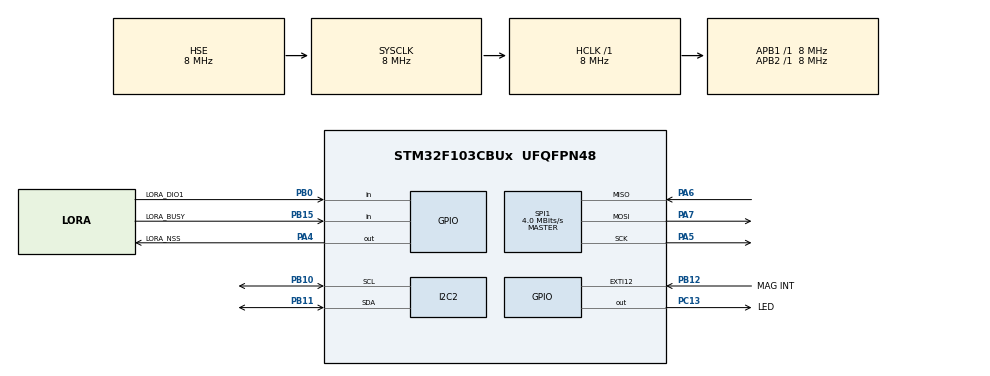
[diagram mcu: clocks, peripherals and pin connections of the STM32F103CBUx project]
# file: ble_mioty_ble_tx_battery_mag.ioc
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Mcu.Family=STM32F1
Mcu.Name=STM32F103CBUx
Mcu.Package=UFQFPN48
NVIC.EXTI15_10_IRQn=true\:1\:0\:true\:false\:true\:true\:true\:true
NVIC.PriorityGroup=NVIC_PRIORITYGROUP_4
PA13.Mode=Serial_Wire
PA13.Signal=SYS_JTMS-SWDIO
PA14.Mode=Serial_Wire
PA14.Signal=SYS_JTCK-SWCLK
PA4.GPIO_Label=LORA_NSS
PA4.Signal=GPIO_Output
PA5.Mode=Full_Duplex_Master
PA5.Signal=SPI1_SCK
PA6.Mode=Full_Duplex_Master
PA6.Signal=SPI1_MISO
PA7.Mode=Full_Duplex_Master
PA7.Signal=SPI1_MOSI
PB0.GPIO_Label=LORA_DIO1
PB0.Signal=GPIO_Input
PB10.Mode=I2C
PB10.Signal=I2C2_SCL
PB11.Mode=I2C
PB11.Signal=I2C2_SDA
PB12.GPIO_Label=MAG INT
PB12.Signal=GPXTI12
PB15.GPIO_Label=LORA_BUSY
PB15.Signal=GPIO_Input
PC13-TAMPER-RTC.GPIO_Label=LED
PC13-TAMPER-RTC.Signal=GPIO_Output
PC14-OSC32_IN.Mode=LSE-External-Oscillator
PC14-OSC32_IN.Signal=RCC_OSC32_IN
PC15-OSC32_OUT.Mode=LSE-External-Oscillator
PC15-OSC32_OUT.Signal=RCC_OSC32_OUT
PD0-OSC_IN.Mode=HSE-External-Oscillator
PD0-OSC_IN.Signal=RCC_OSC_IN
PD1-OSC_OUT.Mode=HSE-External-Oscillator
PD1-OSC_OUT.Signal=RCC_OSC_OUT
ProjectManager.HeapSize=0x200
ProjectManager.StackSize=0x400
ProjectManager.TargetToolchain=STM32CubeIDE
RCC.AHBFreq_Value=8000000
RCC.APB1Freq_Value=8000000
RCC.APB1TimFreq_Value=8000000
RCC.APB2Freq_Value=8000000
RCC.APB2TimFreq_Value=8000000
RCC.HCLKFreq_Value=8000000
RCC.PLLMUL=RCC_PLL_MUL9
RCC.PLLSourceVirtual=RCC_PLLSOURCE_HSE
RCC.SYSCLKFreq_VALUE=8000000
RCC.SYSCLKSource=RCC_SYSCLKSOURCE_HSE
RCC.USBFreq_Value=72000000
SPI1.BaudRatePrescaler=SPI_BAUDRATEPRESCALER_2
SPI1.CalculateBaudRate=4.0 MBits/s
SPI1.Direction=SPI_DIRECTION_2LINES
SPI1.Mode=SPI_MODE_MASTER
SPI1.VirtualType=VM_MASTER
board=custom

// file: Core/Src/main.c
/* USER CODE BEGIN Header */
/**
 ******************************************************************************
 * @file           : main.c
 * @brief          : Main program body
 ******************************************************************************
 */
/* USER CODE END Header */
#include "main.h"

/* USER CODE BEGIN PD */
#define IIS2MDC_I2C_ADDR        (0x1E << 1)
#define IIS2MDC_WHO_AM_I_REG    0x4F
#define IIS2MDC_WHO_AM_I_VALUE  0x40
#define IIS2MDC_CFG_REG_A       0x60
#define IIS2MDC_CFG_REG_C       0x62
#define IIS2MDC_STATUS_REG      0x67
#define IIS2MDC_OUTX_L_REG      0x68
#define IIS2MDC_STATUS_ZYXDA    0x08
#define IIS2MDC_AUTO_INCREMENT  0x80
#define IIS2MDC_CFG_SINGLE_LP   0x91
#define IIS2MDC_CFG_IDLE_LP     0x93
#define IIS2MDC_CFG_BDU         0x10
/* USER CODE END PD */

I2C_HandleTypeDef hi2c2;

SPI_HandleTypeDef hspi1;

/* USER CODE BEGIN PV */
volatile uint8_t alarm_fired = 0;
int16_t mag_ref_x = 0;
int16_t mag_ref_y = 0;
uint8_t mag_ref_valid = 0;
/* USER CODE END PV */

void SystemClock_Config(void);
static void MX_GPIO_Init(void);
static void MX_SPI1_Init(void);
static void MX_I2C2_Init(void);
/* USER CODE BEGIN PFP */
void LED_Blink(uint8_t count);
void SX1280_WaitBusy(void);
uint8_t SX1280_GetStatus(void);
void SX1280_SendCommand(uint8_t *cmd, uint8_t len);
void SX1280_WriteBuffer(uint8_t offset, uint8_t *data, uint8_t len);
void SX1280_WriteRegister(uint16_t addr, uint8_t *data, uint8_t len);
uint8_t SX1280_ReadRegister(uint16_t addr);
void SX1280_SetFrequency(uint8_t b0, uint8_t b1, uint8_t b2);
uint8_t SX1280_SendOnChannel(uint8_t f0, uint8_t f1, uint8_t f2, uint8_t ch,
                             uint8_t white_seed);
void SX1280_InitBLE(void);
void SX1280_VerifyInit(void);
void SX1280_SendBLEBeacon(void);
uint8_t IIS2MDC_ReadRegister(uint8_t reg, uint8_t *value);
uint8_t IIS2MDC_WriteRegister(uint8_t reg, uint8_t value);
uint8_t IIS2MDC_ReadXYZ(int16_t *x, int16_t *y, int16_t *z);
uint8_t IIS2MDC_CalibrateNorthReference(void);
uint8_t IIS2MDC_GetOrientationBlinkCount(void);
uint8_t IIS2MDC_CheckWhoAmI(void);
void RTC_Init_LowPower(void);
void RTC_SetAlarm_1s(void);
void STM32_EnterStopMode(void);
void SX1280_Sleep(void);
void SX1280_Wakeup(void);
/* USER CODE END PFP */

/* USER CODE BEGIN 0 */

// -----------------------------------------------------------------------
// LED helper: blinks 'count' times (150ms on/off), then 600ms pause
// -----------------------------------------------------------------------
void LED_Blink(uint8_t count) {
  for (uint8_t i = 0; i < count; i++) {
    HAL_GPIO_WritePin(LED_GPIO_Port, LED_Pin, GPIO_PIN_SET);
    HAL_Delay(150);
    HAL_GPIO_WritePin(LED_GPIO_Port, LED_Pin, GPIO_PIN_RESET);
    HAL_Delay(150);
  }
  HAL_Delay(600);
}

// -----------------------------------------------------------------------
// IIS2MDC helper: read a single register over I2C2
// -----------------------------------------------------------------------
uint8_t IIS2MDC_ReadRegister(uint8_t reg, uint8_t *value) {
  if (HAL_I2C_Mem_Read(&hi2c2, IIS2MDC_I2C_ADDR, reg,
                       I2C_MEMADD_SIZE_8BIT, value, 1, 100) == HAL_OK) {
    return 1;
  }
  return 0;
}

uint8_t IIS2MDC_WriteRegister(uint8_t reg, uint8_t value) {
  if (HAL_I2C_Mem_Write(&hi2c2, IIS2MDC_I2C_ADDR, reg,
                        I2C_MEMADD_SIZE_8BIT, &value, 1, 100) == HAL_OK) {
    return 1;
  }
  return 0;
}

// -----------------------------------------------------------------------
// Take one low-power single-shot magnetic sample, then return to idle.
// Orientation is compared against the boot-time reference direction.
// Returns blink count: 1=same direction, 2=opposite, 3=sideways/unclear,
// 8=read/config error.
// -----------------------------------------------------------------------
uint8_t IIS2MDC_ReadXYZ(int16_t *x, int16_t *y, int16_t *z) {
  uint8_t status = 0;
  uint8_t raw[6] = {0};

  if (!IIS2MDC_WriteRegister(IIS2MDC_CFG_REG_C, IIS2MDC_CFG_BDU)) {
    return 0;
  }
  if (!IIS2MDC_WriteRegister(IIS2MDC_CFG_REG_A, IIS2MDC_CFG_SINGLE_LP)) {
    return 0;
  }

  for (uint8_t i = 0; i < 20; i++) {
    HAL_Delay(2);
    if (!IIS2MDC_ReadRegister(IIS2MDC_STATUS_REG, &status)) {
      return 0;
    }
    if ((status & IIS2MDC_STATUS_ZYXDA) != 0) {
      break;
    }
  }
  if ((status & IIS2MDC_STATUS_ZYXDA) == 0) {
    return 0;
  }

  if (HAL_I2C_Mem_Read(&hi2c2, IIS2MDC_I2C_ADDR,
                       IIS2MDC_OUTX_L_REG | IIS2MDC_AUTO_INCREMENT,
                       I2C_MEMADD_SIZE_8BIT, raw, 6, 100) != HAL_OK) {
    return 0;
  }

  *x = (int16_t)((uint16_t)raw[1] << 8 | raw[0]);
  *y = (int16_t)((uint16_t)raw[3] << 8 | raw[2]);
  *z = (int16_t)((uint16_t)raw[5] << 8 | raw[4]);
  IIS2MDC_WriteRegister(IIS2MDC_CFG_REG_A, IIS2MDC_CFG_IDLE_LP);
  return 1;
}

uint8_t IIS2MDC_CalibrateNorthReference(void) {
  int16_t x = 0;
  int16_t y = 0;
  int16_t z = 0;
  (void)z;

  if (!IIS2MDC_ReadXYZ(&x, &y, &z)) {
    mag_ref_valid = 0;
    return 0;
  }

  mag_ref_x = x;
  mag_ref_y = y;
  mag_ref_valid = 1;
  return 1;
}

uint8_t IIS2MDC_GetOrientationBlinkCount(void) {
  int16_t x = 0;
  int16_t y = 0;
  int16_t z = 0;
  (void)z;

  if (!IIS2MDC_ReadXYZ(&x, &y, &z)) {
    return 8;
  }

  if (!mag_ref_valid) {
    return 8;
  }

  int64_t dot = (int64_t)x * mag_ref_x + (int64_t)y * mag_ref_y;
  int64_t ref_norm = (int64_t)mag_ref_x * mag_ref_x + (int64_t)mag_ref_y * mag_ref_y;
  int64_t cur_norm = (int64_t)x * x + (int64_t)y * y;
  int64_t dot_abs = (dot < 0) ? -dot : dot;

  if (ref_norm == 0 || cur_norm == 0) {
    return 8;
  }

  // Same/opposite if within roughly 45 degrees of the reference/opposite vector.
  if ((dot_abs * dot_abs * 2) >= (ref_norm * cur_norm)) {
    return (dot >= 0) ? 1 : 2;
  }
  return 3;
}

// -----------------------------------------------------------------------
// Verify IIS2MDC magnetometer presence.
// WHO_AM_I register 0x4F should read 0x40.
// -----------------------------------------------------------------------
uint8_t IIS2MDC_CheckWhoAmI(void) {
  uint8_t whoami = 0;
  if (!IIS2MDC_ReadRegister(IIS2MDC_WHO_AM_I_REG, &whoami)) {
    return 0;
  }
  return (whoami == IIS2MDC_WHO_AM_I_VALUE) ? 1 : 0;
}

// -----------------------------------------------------------------------
// Wait for BUSY pin to go low (chip ready for next command)
// Hangs with 50ms rapid blink if timeout exceeds 1 second
// -----------------------------------------------------------------------
void SX1280_WaitBusy(void) {
  uint32_t timeout = HAL_GetTick();
  while (HAL_GPIO_ReadPin(LORA_BUSY_GPIO_Port, LORA_BUSY_Pin) == GPIO_PIN_SET) {
    if ((HAL_GetTick() - timeout) > 1000) {
      while (1) {
        HAL_GPIO_TogglePin(LED_GPIO_Port, LED_Pin);
        HAL_Delay(50);
      }
    }
  }
}

// -----------------------------------------------------------------------
// GetStatus: returns the raw status byte
// Bits 7:5 = circuit mode (2=STDBY_RC, 3=STDBY_XOSC, 4=FS, 5=Rx, 6=Tx)
// Bits 4:2 = command status (1=OK, 3=timeout, 4=error, 5=fail, 6=TxDone)
// -----------------------------------------------------------------------
uint8_t SX1280_GetStatus(void) {
  uint8_t tx[2] = {0xC0, 0x00};
  uint8_t rx[2] = {0x00, 0x00};
  SX1280_WaitBusy();
  HAL_GPIO_WritePin(LORA_NSS_GPIO_Port, LORA_NSS_Pin, GPIO_PIN_RESET);
  HAL_SPI_TransmitReceive(&hspi1, tx, rx, 2, HAL_MAX_DELAY);
  HAL_GPIO_WritePin(LORA_NSS_GPIO_Port, LORA_NSS_Pin, GPIO_PIN_SET);
  return rx[1];
}

// -----------------------------------------------------------------------
// Send a command over SPI (waits for BUSY first)
// -----------------------------------------------------------------------
void SX1280_SendCommand(uint8_t *cmd, uint8_t len) {
  SX1280_WaitBusy();
  HAL_GPIO_WritePin(LORA_NSS_GPIO_Port, LORA_NSS_Pin, GPIO_PIN_RESET);
  HAL_SPI_Transmit(&hspi1, cmd, len, HAL_MAX_DELAY);
  HAL_GPIO_WritePin(LORA_NSS_GPIO_Port, LORA_NSS_Pin, GPIO_PIN_SET);
}

// -----------------------------------------------------------------------
// Write payload data to TX buffer at given offset
// -----------------------------------------------------------------------
void SX1280_WriteBuffer(uint8_t offset, uint8_t *data, uint8_t len) {
  SX1280_WaitBusy();
  HAL_GPIO_WritePin(LORA_NSS_GPIO_Port, LORA_NSS_Pin, GPIO_PIN_RESET);
  uint8_t header[2] = {0x1A, offset};
  HAL_SPI_Transmit(&hspi1, header, 2, HAL_MAX_DELAY);
  HAL_SPI_Transmit(&hspi1, data, len, HAL_MAX_DELAY);
  HAL_GPIO_WritePin(LORA_NSS_GPIO_Port, LORA_NSS_Pin, GPIO_PIN_SET);
}

// -----------------------------------------------------------------------
// Write registers via opcode 0x18
// -----------------------------------------------------------------------
void SX1280_WriteRegister(uint16_t addr, uint8_t *data, uint8_t len) {
  SX1280_WaitBusy();
  HAL_GPIO_WritePin(LORA_NSS_GPIO_Port, LORA_NSS_Pin, GPIO_PIN_RESET);
  uint8_t header[3] = {0x18, (addr >> 8) & 0xFF, addr & 0xFF};
  HAL_SPI_Transmit(&hspi1, header, 3, HAL_MAX_DELAY);
  HAL_SPI_Transmit(&hspi1, data, len, HAL_MAX_DELAY);
  HAL_GPIO_WritePin(LORA_NSS_GPIO_Port, LORA_NSS_Pin, GPIO_PIN_SET);
}

// -----------------------------------------------------------------------
// Read a single register via opcode 0x19
// Format: [0x19, addrHigh, addrLow, NOP] then receive 1 byte
// -----------------------------------------------------------------------
uint8_t SX1280_ReadRegister(uint16_t addr) {
  uint8_t val = 0;
  SX1280_WaitBusy();
  HAL_GPIO_WritePin(LORA_NSS_GPIO_Port, LORA_NSS_Pin, GPIO_PIN_RESET);
  uint8_t header[4] = {0x19, (addr >> 8) & 0xFF, addr & 0xFF, 0x00};
  HAL_SPI_Transmit(&hspi1, header, 4, HAL_MAX_DELAY);
  HAL_SPI_Receive(&hspi1, &val, 1, HAL_MAX_DELAY);
  HAL_GPIO_WritePin(LORA_NSS_GPIO_Port, LORA_NSS_Pin, GPIO_PIN_SET);
  return val;
}

// -----------------------------------------------------------------------
// Set RF frequency
// rfFreq = (targetMHz * 1e6 / 52e6) * 2^18, split into 3 bytes MSB first
// CH37=2402MHz: 0xB8,0xC4,0xEC
// CH38=2426MHz: 0xBA,0x9D,0x89
// CH39=2480MHz: 0xBE,0xC4,0x55
// -----------------------------------------------------------------------
void SX1280_SetFrequency(uint8_t b0, uint8_t b1, uint8_t b2) {
  uint8_t cmd[4] = {0x86, b0, b1, b2};
  SX1280_SendCommand(cmd, 4);
}

// -----------------------------------------------------------------------
// Initialize SX1280 for BLE advertising mode
// Must be called once after power-on/reset, before any TX
// -----------------------------------------------------------------------
void SX1280_InitBLE(void) {
  // 1. Go to Standby RC mode
  uint8_t cmd_standby[2] = {0x80, 0x00};
  SX1280_SendCommand(cmd_standby, 2);
  HAL_Delay(10);

  // 2. Set packet type = BLE (0x04) — per reference: PACKET_TYPE_BLE = 0x04
  uint8_t cmd_pkt_type[2] = {0x8A, 0x04};
  SX1280_SendCommand(cmd_pkt_type, 2);

  // 3. Set TX base address = 0x80, RX base = 0x00 (matches reference
  // SetupAdvPdu offset)
  uint8_t cmd_buf[3] = {0x8F, 0x80, 0x00};
  SX1280_SendCommand(cmd_buf, 3);

  // 4. Set modulation params: 1 Mbps, MOD_IND=0.5, BT=0.5
  uint8_t cmd_mod[4] = {0x8B, 0x45, 0x01, 0x20};
  SX1280_SendCommand(cmd_mod, 4);

  // 5. Set TX output power = 0 dBm (0x12) or +13 dBm (0x1F)**board 2 where j1 is attached change it(ref:25_06.md)** for low current draw, ramp time =
  // 20us (0x20)
  uint8_t cmd_tx_params[3] = {0x8E, 0x12, 0x20};
  SX1280_SendCommand(cmd_tx_params, 3);

  // 6. Write BLE advertising Access Address = 0x8E89BED6
  //    Registers 0x09CF (MSB) .. 0x09D2 (LSB)
  uint8_t access_addr[4] = {0x8E, 0x89, 0xBE, 0xD6};
  SX1280_WriteRegister(0x09CF, access_addr, 4);

  // 7. Write CRC init seed = 0x555555 (BLE advertising spec requirement)
  //    Registers 0x09C7 (MSB) .. 0x09C9 (LSB)
  uint8_t crc_seed[3] = {0x55, 0x55, 0x55};
  SX1280_WriteRegister(0x09C7, crc_seed, 3);

  // 8. Map TxDone IRQ to DIO1 pin
  //    [opcode, IRQmask_H, IRQmask_L, DIO1_H, DIO1_L, DIO2_H, DIO2_L, DIO3_H,
  //    DIO3_L]
  uint8_t cmd_irq[9] = {0x8D, 0x00, 0x01, 0x00, 0x01, 0x00, 0x00, 0x00, 0x00};
  SX1280_SendCommand(cmd_irq, 9);
}

// -----------------------------------------------------------------------
// Read back key registers after InitBLE and blink results as LED groups
//
// All counts shifted by +1 so 0 = 1 blink (never 0 blinks)
//
// EXPECTED SEQUENCE (good init):
//   Group 1:  9 blinks  (Access Address reg 0x09CF = 0x8E, nibble=8, +1=9)
//   Group 2:  6 blinks  (CRC seed reg 0x09C7 = 0x55, nibble=5, +1=6)
//   Group 3:  3 blinks  (Circuit mode = STDBY_RC = 2, +1=3)
//   Group 4:  1 blink   (Command status = idle = 0, +1=1)
//
// 9,6,3,1 = firmware confirmed good → suspect RF/hardware path
// Any other pattern = SPI write issue
// -----------------------------------------------------------------------
void SX1280_VerifyInit(void) {
  HAL_Delay(1000);

  // Group 1: Access Address reg 0x09CF — expect 9 blinks
  uint8_t aa = SX1280_ReadRegister(0x09CF);
  LED_Blink((aa >> 4) + 1);
  HAL_Delay(1000);

  // Group 2: CRC seed reg 0x09C7 — expect 6 blinks
  uint8_t crc = SX1280_ReadRegister(0x09C7);
  LED_Blink((crc >> 4) + 1);
  HAL_Delay(1000);

  // Group 3: Circuit mode (bits 7:5) — expect 3 blinks (STDBY_RC=2, +1=3)
  HAL_Delay(50);
  uint8_t st = SX1280_GetStatus();
  uint8_t circuit_mode = (st >> 5) & 0x07;
  uint8_t cmd_status = (st >> 2) & 0x07;
  LED_Blink(circuit_mode + 1);
  HAL_Delay(1000);

  // Group 4: Command status (bits 4:2) — expect 1 blink (idle=0, +1=1)
  LED_Blink(cmd_status + 1);
  HAL_Delay(1000);
}

// -----------------------------------------------------------------------
// Transmit one BLE ADV_NONCONN_IND packet on the specified channel
//
// Returns: 1 = TxDone confirmed via DIO1 pin
//          0 = TxDone not seen (possible TX failure)
//
// DIO1 is mapped to TxDone IRQ in InitBLE step 8.
// DIO1 goes HIGH when the chip finishes transmitting.
// IRQ is cleared after each TX so DIO1 resets for the next channel.
// -----------------------------------------------------------------------
uint8_t SX1280_SendOnChannel(uint8_t freq0, uint8_t freq1, uint8_t freq2,
                             uint8_t ch_index, uint8_t white_seed) {
  // Set RF frequency for this channel
  SX1280_SetFrequency(freq0, freq1, freq2);
  // Explicitly set modulation parameters (1 Mbps GFSK, index 0.5, BT 0.5)
  uint8_t cmd_mod[4] = {0x8B, 0x45, 0x01, 0x20};
  SX1280_SendCommand(cmd_mod, 4);

  // Build BLE ADV_NONCONN_IND PDU — iBeacon format matching reference board
  // Sniffed from reference board: ADV_NONCONN_IND, ManufacturerSpecificData
  // (0xFF) Apple iBeacon: UUID=01020304-0506-0708-090A-0B0C0D0E0F10, Major=1,
  // Minor=2
  uint8_t adv_data[] = {
      // Flags AD structure (3 bytes)
      // Length=2, Type=0x01, Value=0x06 (LE General Discoverable + BR/EDR Not
      // Supported)
      0x02, 0x01, 0x06,

      // iBeacon Manufacturer Specific Data AD structure (27 bytes)
      // Length=26, Type=0xFF (ManufacturerSpecificData)
      0x1A, 0xFF,
      // Apple Inc. company ID — little-endian (0x004C)
      0x4C, 0x00,
      // iBeacon subtype (0x02) + payload length (0x15 = 21 bytes)
      0x02, 0x15,
      // Proximity UUID: 01020304-0506-0708-090A-0B0C0D0E0F10
      0x01, 0x02, 0x03, 0x04, 0x05, 0x06, 0x07, 0x08, 0x09, 0x0A, 0x0B, 0x0C,
      0x0D, 0x0E, 0x0F, 0x10,
      // Major = 1 (location zone)
      0x00, 0x01,
      // Minor = 2 (sub-zone)
      0x00, 0x02,
      // TX Power at 1 m = -59 dBm (0xC5 signed) — used for ranging
      0xC5};
  uint8_t mac[6] = {0xFF, 0xEE, 0xDD, 0xCC,
                    0xBB, 0xAC}; // BLE address LSB-first, on-air (MSB-first):
                                 // FF:EE:DD:CC:BB:AC
  // Payload length = MAC (6) + AD data (30) = 36 bytes
  uint8_t pdu_len = 6 + 30;
  uint8_t payload[38]; // 2-byte header + 36-byte PDU

  payload[0] = 0x42;    // PDU type: ADV_NONCONN_IND (bits[1:0]=10) + TxAdd=1
                        // (bit6) for random address
  payload[1] = pdu_len; // length of everything after the 2-byte header
  for (int i = 0; i < 6; i++)
    payload[2 + i] = mac[i];
  for (int i = 0; i < 30; i++)
    payload[8 + i] = adv_data[i];

  // SetPacketParams for BLE — exactly matching reference prepareForBeacon():
  // SetPacketParams(0x20, 0x10, 0x04, 0x00, 0x00, 0x00, 0x00)
  // [0x8C, ConnectionState=0x20, CrcLength=0x10, BleTestPayload=0x04,
  // Whitening=0x00, 0x00, 0x00, 0x00] NOTE: whitening is enabled via
  // SetWhiteningSeed (register 0x09C5), NOT via this byte
  uint8_t cmd_pkt[8] = {0x8C, 0x20, 0x10, 0x04, 0x00, 0x00, 0x00, 0x00};
  SX1280_SendCommand(cmd_pkt, 8);

  // Set whitening seed — reference uses SetWhiteningSeed(reg 0x09C5)
  // Seeds from reference channel_table: CH37=0x53, CH38=0x33, CH39=0x73
  SX1280_WriteRegister(0x09C5, &white_seed, 1);

  // Write full 38-byte PDU to TX buffer at offset 0x80 (matches reference
  // SetupAdvPdu/SetBufferBaseAddresses) (2-byte header + 6-byte MAC + 30-byte
  // iBeacon AD data = 38 bytes total)
  SX1280_WriteBuffer(0x80, payload, 38);

  // SetTx: periodBase=0x00 (15.625us steps), count=0x0064 (~1.56ms timeout)
  uint8_t cmd_tx[4] = {0x83, 0x00, 0x00, 0x64};
  SX1280_SendCommand(cmd_tx, 4);

  // Wait for chip to finish (BUSY goes low after TX completes)
  SX1280_WaitBusy();
  HAL_Delay(2);

  // Read TxDone confirmation from DIO1 pin
  uint8_t txdone = 0;
  if (HAL_GPIO_ReadPin(LORA_DIO1_GPIO_Port, LORA_DIO1_Pin) == GPIO_PIN_SET) {
    txdone = 1;
    // Clear all IRQ flags so DIO1 goes low again for next channel
    uint8_t clr[3] = {0x97, 0xFF, 0xFF};
    SX1280_SendCommand(clr, 3);
  }

  HAL_Delay(3);
  return txdone;
}

// -----------------------------------------------------------------------
// Send beacon on all 3 BLE advertising channels
// Passes TxDone result for each channel back to caller
// -----------------------------------------------------------------------
void SX1280_SendBLEBeacon(void) {
  // Whitening seeds match reference project channel_table exactly:
  // CH37=0x53, CH38=0x33, CH39=0x73
  SX1280_SendOnChannel(0xB8, 0xC4, 0xEC, 37, 0x53); // 2402 MHz, seed=0x53
  HAL_Delay(10);
  SX1280_SendOnChannel(0xBA, 0x9D, 0x89, 38, 0x33); // 2426 MHz, seed=0x33
  HAL_Delay(10);
  SX1280_SendOnChannel(
      0xBE, 0xC4, 0x55, 39,
      0x73); // 2480 MHz, seed=0x73 (Corrected frequency LSB to 0x55)
  HAL_Delay(10);
}

// -----------------------------------------------------------------------
// Initialize the RTC to use the external LSE clock source (32.768 kHz)
// -----------------------------------------------------------------------
void RTC_Init_LowPower(void) {
  // 1. Enable Power and Backup Interface Clocks
  __HAL_RCC_PWR_CLK_ENABLE();
  __HAL_RCC_BKP_CLK_ENABLE();

  // 2. Enable access to Backup Domain
  HAL_PWR_EnableBkUpAccess();

  // Force backup domain reset to clear any locked RTC clock source
  // configurations
  __HAL_RCC_BACKUPRESET_FORCE();
  __HAL_RCC_BACKUPRESET_RELEASE();

  // 3. Enable LSE oscillator
  RCC_OscInitTypeDef osc_init = {0};
  osc_init.OscillatorType = RCC_OSCILLATORTYPE_LSE;
  osc_init.LSEState = RCC_LSE_ON;
  if (HAL_RCC_OscConfig(&osc_init) != HAL_OK) {
    Error_Handler();
  }

  // 4. Select LSE as RTC Clock Source and enable it
  RCC_PeriphCLKInitTypeDef clk_init = {0};
  clk_init.PeriphClockSelection = RCC_PERIPHCLK_RTC;
  clk_init.RTCClockSelection = RCC_RTCCLKSOURCE_LSE;
  if (HAL_RCCEx_PeriphCLKConfig(&clk_init) != HAL_OK) {
    Error_Handler();
  }

  // 5. Enable RTC Clock
  __HAL_RCC_RTC_ENABLE();

  // 6. Wait for RTC registers synchronization
  WRITE_REG(RTC->CRL, (uint32_t)~RTC_CRL_RSF);
  while ((RTC->CRL & RTC_CRL_RSF) == 0) {
  }
  while ((RTC->CRL & RTC_CRL_RTOFF) == 0) {
  }

  // 7. Configure RTC Prescaler (for 32.768kHz LSE: 32768 - 1 = 32767 to get 1 Hz)
  SET_BIT(RTC->CRL, RTC_CRL_CNF);
  WRITE_REG(RTC->PRLH, (32767 >> 16) & 0xFFFF);
  WRITE_REG(RTC->PRLL, 32767 & 0xFFFF);
  CLEAR_BIT(RTC->CRL, RTC_CRL_CNF);
  while ((RTC->CRL & RTC_CRL_RTOFF) == 0) {
  }

  // 8. Configure EXTI Line 17 (connected to RTC Alarm) for Interrupt Rising
  // Edge
  SET_BIT(EXTI->IMR, EXTI_IMR_MR17);
  SET_BIT(EXTI->RTSR, EXTI_RTSR_TR17);

  // 9. Configure NVIC for RTC Alarm
  HAL_NVIC_SetPriority(RTC_Alarm_IRQn, 0, 0);
  HAL_NVIC_EnableIRQ(RTC_Alarm_IRQn);
}

// -----------------------------------------------------------------------
// Set the RTC Alarm to fire 1 second from current time
// -----------------------------------------------------------------------
void RTC_SetAlarm_1s(void) {
  // Clear Register Synchronized Flag (RSF) and wait for synchronization (critical after wakeup)
  WRITE_REG(RTC->CRL, (uint32_t)~RTC_CRL_RSF);
  while ((RTC->CRL & RTC_CRL_RSF) == 0) {
  }

  while ((RTC->CRL & RTC_CRL_RTOFF) == 0) {
  }

  // Read current 32-bit counter value
  uint32_t cnt = ((uint32_t)RTC->CNTH << 16) | RTC->CNTL;
  uint32_t alarm_val = cnt + 1; // 1 second alarm

  SET_BIT(RTC->CRL, RTC_CRL_CNF);
  WRITE_REG(RTC->ALRH, (alarm_val >> 16) & 0xFFFF);
  WRITE_REG(RTC->ALRL, alarm_val & 0xFFFF);
  SET_BIT(RTC->CRH, RTC_CRH_ALRIE); // Enable Alarm interrupt
  CLEAR_BIT(RTC->CRL, RTC_CRL_CNF);
  while ((RTC->CRL & RTC_CRL_RTOFF) == 0) {
  }
}

// -----------------------------------------------------------------------
// RTC Alarm Interrupt Handler - Clears pending bits and sets flag
// -----------------------------------------------------------------------
void RTC_Alarm_IRQHandler(void) {
  while ((RTC->CRL & RTC_CRL_RTOFF) == 0) {
  }
  SET_BIT(RTC->CRL, RTC_CRL_CNF);
  CLEAR_BIT(RTC->CRH, RTC_CRH_ALRIE);    // Disable alarm interrupt temporarily
  CLEAR_BIT(RTC->CRL, RTC_CRL_ALRF_Msk); // Clear Alarm flag
  CLEAR_BIT(RTC->CRL, RTC_CRL_CNF);
  while ((RTC->CRL & RTC_CRL_RTOFF) == 0) {
  }

  WRITE_REG(EXTI->PR, EXTI_PR_PR17); // Clear EXTI Line 17 pending bit

  alarm_fired = 1; // Set global flag
}

void SX1280_Sleep(void) {
  uint8_t cmd_sleep[2] = {0x84, 0x01}; // Sleep with register retention
  SX1280_SendCommand(cmd_sleep, 2);
}

void SX1280_Wakeup(void) {
  uint8_t tx[2] = {0xC0, 0x00}; // GetStatus opcode + dummy byte
  uint8_t rx[2] = {0x00, 0x00};

  // Pull NSS low to start transaction (no WaitBusy before this)
  HAL_GPIO_WritePin(LORA_NSS_GPIO_Port, LORA_NSS_Pin, GPIO_PIN_RESET);

  // Hold NSS low for at least 30-50 microseconds to allow the radio internal oscillator to start.
  // At 8 MHz, 100 loop iterations is ~37.5 microseconds.
  for (volatile uint32_t i = 0; i < 100; i++) {
    __NOP();
  }

  // Transmit GetStatus command to clock the SPI bus and wake up the radio
  HAL_SPI_TransmitReceive(&hspi1, tx, rx, 2, HAL_MAX_DELAY);

  // Pull NSS high
  HAL_GPIO_WritePin(LORA_NSS_GPIO_Port, LORA_NSS_Pin, GPIO_PIN_SET);

  // Wait for the radio's busy pin to go low
  SX1280_WaitBusy();
}

// -----------------------------------------------------------------------
// Put STM32 into Stop Mode and wake up via RTC alarm interrupt
// -----------------------------------------------------------------------
void STM32_EnterStopMode(void) {
  // 1. Put SX1280 to sleep
  SX1280_Sleep();

  // 2. Disable SPI1 and clamp pins to Input Pull-Down to prevent leaks/floating states
  __HAL_SPI_DISABLE(&hspi1);

  GPIO_InitTypeDef GPIO_InitStruct = {0};
  // SCK (PA5), MISO (PA6), MOSI (PA7) -> Input with Pull-Down (prevents floating SPI bus)
  GPIO_InitStruct.Pin = GPIO_PIN_5 | GPIO_PIN_6 | GPIO_PIN_7;
  GPIO_InitStruct.Mode = GPIO_MODE_INPUT;
  GPIO_InitStruct.Pull = GPIO_PULLDOWN;
  HAL_GPIO_Init(GPIOA, &GPIO_InitStruct);

  // DIO1 (PB0) and BUSY (PB15) -> Input with Pull-Down
  GPIO_InitStruct.Pin = LORA_DIO1_Pin | LORA_BUSY_Pin;
  GPIO_InitStruct.Mode = GPIO_MODE_INPUT;
  GPIO_InitStruct.Pull = GPIO_PULLDOWN;
  HAL_GPIO_Init(GPIOB, &GPIO_InitStruct);

  // Keep NSS (PA4) and NRST (PA3) HIGH to lock radio state
  HAL_GPIO_WritePin(LORA_NSS_GPIO_Port, LORA_NSS_Pin, GPIO_PIN_SET);
  HAL_GPIO_WritePin(LORA_NRST_GPIO_Port, LORA_NRST_Pin, GPIO_PIN_SET);

  // 3. Set the RTC alarm for 1 second from now
  RTC_SetAlarm_1s();

  // 4. Suspend SysTick to prevent it from waking the CPU every 1ms
  HAL_SuspendTick();

  // 5. Enter STOP Mode (SRAM retained, wakes up via RTC alarm EXTI 17)
  __HAL_PWR_CLEAR_FLAG(PWR_FLAG_WU);
  HAL_PWR_EnterSTOPMode(PWR_LOWPOWERREGULATOR_ON, PWR_STOPENTRY_WFI);

  // --- SLEEPING HERE ---

  // 6. Wake up - system restarts on internal HSI, restore clock to HSE 8 MHz
  SystemClock_Config();

  // 7. Resume SysTick
  HAL_ResumeTick();

  // 8. Re-initialize SPI1 (handles peripheral state and alternate functions)
  //222222222222222 /* --- COMMENT OUT POST-SLEEP RECOVERY & BLE RE-CONFIG --- */
  HAL_SPI_DeInit(&hspi1);
  MX_SPI1_Init();

  // 8b. Re-initialize I2C2 for the next magnetometer single-shot read
  HAL_I2C_DeInit(&hi2c2);
  MX_I2C2_Init();

  // 9. Re-initialize DIO1 (PB0) and BUSY (PB15) as INPUT, NOPULL
  GPIO_InitStruct.Pin = LORA_DIO1_Pin | LORA_BUSY_Pin;
  GPIO_InitStruct.Mode = GPIO_MODE_INPUT;
  GPIO_InitStruct.Pull = GPIO_NOPULL;
  HAL_GPIO_Init(GPIOB, &GPIO_InitStruct);

  // 10. Wake up the SX1280
  SX1280_Wakeup();

  // Wait 5ms for the radio regulators and internal crystal to fully stabilize
  HAL_Delay(5);

  // 11. Re-initialize BLE configuration registers (lost during sleep)
  SX1280_InitBLE();
}

/* USER CODE END 0 */

int main(void)
{

  /* USER CODE BEGIN 1 */
  // Reconnect window: gives ST-Link time to attach after flash
  // Increased to 5s to avoid slow-blink-forever on fresh flash
  for (volatile uint32_t i = 0; i < 5000000; i++)
    ;
  /* USER CODE END 1 */

  /* MCU Configuration--------------------------------------------------------*/

  /* Reset of all peripherals, Initializes the Flash interface and the Systick. */
  HAL_Init();

  /* Configure the system clock */
  SystemClock_Config();

  /* Initialize all configured peripherals */
  MX_GPIO_Init();
  MX_SPI1_Init();
  MX_I2C2_Init();
  /* USER CODE BEGIN 2 */
  HAL_GPIO_WritePin(LORA_NSS_GPIO_Port, LORA_NSS_Pin, GPIO_PIN_SET);

  // Hard reset SX1280: pull NRST low 5ms then release, wait 10ms for boot
  HAL_GPIO_WritePin(LORA_NRST_GPIO_Port, LORA_NRST_Pin, GPIO_PIN_RESET);
  HAL_Delay(5);
  HAL_GPIO_WritePin(LORA_NRST_GPIO_Port, LORA_NRST_Pin, GPIO_PIN_SET);
  HAL_Delay(10);

  // Verify SX1280 is alive on SPI (valid status is not 0x00 or 0xFF)
  uint8_t status = SX1280_GetStatus();
  if (status == 0x00 || status == 0xFF) {
    // Not responding — slow 1s blink forever
    while (1) {
      HAL_GPIO_TogglePin(LED_GPIO_Port, LED_Pin);
      HAL_Delay(1000);
    }
  }

  LED_Blink(1); // 1 blink = SX1280 alive

  SX1280_InitBLE();

  // Diagnostic register readback — see SX1280_VerifyInit comments
  // Expected radio sequence: 9 blinks, 6 blinks, 3 blinks, 1 blink
  SX1280_VerifyInit();

  // Magnetometer presence + reference direction check over I2C2.
  // Keep the board pointed in your chosen "north" direction during boot.
  // Good startup sequence: SX1280 alive blink, then 9,6,3,1,2.
  // If the final group is 8 blinks, IIS2MDC WHO_AM_I or reference read failed.
  uint8_t mag_ok = IIS2MDC_CheckWhoAmI() && IIS2MDC_CalibrateNorthReference();
  LED_Blink(mag_ok ? 2 : 8);

  // Turn off LED after verification blinks
  HAL_GPIO_WritePin(LED_GPIO_Port, LED_Pin, GPIO_PIN_RESET);

  // Enable debug support during low power modes (keeps SWD active in Stop Mode)
  HAL_DBGMCU_EnableDBGStopMode();

  RTC_Init_LowPower(); // Initialize low-power RTC wakeup

  /* USER CODE END 2 */

  /* Infinite loop */
  /* USER CODE BEGIN WHILE */
  while (1)
  {
    // 1. Take one magnetometer sample and blink orientation sector.
    //    1=same as boot reference, 2=opposite, 3=sideways/unclear, 8=read error.
    LED_Blink(IIS2MDC_GetOrientationBlinkCount());

    // 2. Transmit BLE beacon on all 3 channels
    SX1280_SendBLEBeacon();

    // 3. Shut down peripherals and enter Stop Mode (wakes up in 1s)
    STM32_EnterStopMode();
    /* USER CODE END WHILE */

  }
}

void SystemClock_Config(void)
{
  RCC_OscInitTypeDef RCC_OscInitStruct = {0};
  RCC_ClkInitTypeDef RCC_ClkInitStruct = {0};

  /** Initializes the RCC Oscillators according to the specified parameters
  * in the RCC_OscInitTypeDef structure.
  */
  RCC_OscInitStruct.OscillatorType = RCC_OSCILLATORTYPE_HSE;
  RCC_OscInitStruct.HSEState = RCC_HSE_ON;
  RCC_OscInitStruct.PLL.PLLState = RCC_PLL_NONE;
  if (HAL_RCC_OscConfig(&RCC_OscInitStruct) != HAL_OK)
  {
    Error_Handler();
  }

  /** Initializes the CPU, AHB and APB buses clocks
  */
  RCC_ClkInitStruct.ClockType = RCC_CLOCKTYPE_HCLK|RCC_CLOCKTYPE_SYSCLK
                              |RCC_CLOCKTYPE_PCLK1|RCC_CLOCKTYPE_PCLK2;
  RCC_ClkInitStruct.SYSCLKSource = RCC_SYSCLKSOURCE_HSE;
  RCC_ClkInitStruct.AHBCLKDivider = RCC_SYSCLK_DIV1;
  RCC_ClkInitStruct.APB1CLKDivider = RCC_HCLK_DIV1;
  RCC_ClkInitStruct.APB2CLKDivider = RCC_HCLK_DIV1;

  if (HAL_RCC_ClockConfig(&RCC_ClkInitStruct, FLASH_LATENCY_0) != HAL_OK)
  {
    Error_Handler();
  }
}

static void MX_I2C2_Init(void)
{

  hi2c2.Instance = I2C2;
  hi2c2.Init.ClockSpeed = 100000;
  hi2c2.Init.DutyCycle = I2C_DUTYCYCLE_2;
  hi2c2.Init.OwnAddress1 = 0;
  hi2c2.Init.AddressingMode = I2C_ADDRESSINGMODE_7BIT;
  hi2c2.Init.DualAddressMode = I2C_DUALADDRESS_DISABLE;
  hi2c2.Init.OwnAddress2 = 0;
  hi2c2.Init.GeneralCallMode = I2C_GENERALCALL_DISABLE;
  hi2c2.Init.NoStretchMode = I2C_NOSTRETCH_DISABLE;
  if (HAL_I2C_Init(&hi2c2) != HAL_OK)
  {
    Error_Handler();
  }

}

static void MX_SPI1_Init(void)
{

  /* SPI1 parameter configuration*/
  hspi1.Instance = SPI1;
  hspi1.Init.Mode = SPI_MODE_MASTER;
  hspi1.Init.Direction = SPI_DIRECTION_2LINES;
  hspi1.Init.DataSize = SPI_DATASIZE_8BIT;
  hspi1.Init.CLKPolarity = SPI_POLARITY_LOW;
  hspi1.Init.CLKPhase = SPI_PHASE_1EDGE;
  hspi1.Init.NSS = SPI_NSS_SOFT;
  hspi1.Init.BaudRatePrescaler = SPI_BAUDRATEPRESCALER_2;
  hspi1.Init.FirstBit = SPI_FIRSTBIT_MSB;
  hspi1.Init.TIMode = SPI_TIMODE_DISABLE;
  hspi1.Init.CRCCalculation = SPI_CRCCALCULATION_DISABLE;
  hspi1.Init.CRCPolynomial = 10;
  if (HAL_SPI_Init(&hspi1) != HAL_OK)
  {
    Error_Handler();
  }

}

static void MX_GPIO_Init(void)
{
  GPIO_InitTypeDef GPIO_InitStruct = {0};

  /* GPIO Ports Clock Enable */
  __HAL_RCC_GPIOC_CLK_ENABLE();
  __HAL_RCC_GPIOD_CLK_ENABLE();
  __HAL_RCC_GPIOA_CLK_ENABLE();
  __HAL_RCC_GPIOB_CLK_ENABLE();

  /*Configure GPIO pin Output Level */
  HAL_GPIO_WritePin(LED_GPIO_Port, LED_Pin, GPIO_PIN_RESET);

  /*Configure GPIO pin Output Level */
  HAL_GPIO_WritePin(LORA_NSS_GPIO_Port, LORA_NSS_Pin, GPIO_PIN_RESET);

  /*Configure GPIO pin : LED_Pin */
  GPIO_InitStruct.Pin = LED_Pin;
  GPIO_InitStruct.Mode = GPIO_MODE_OUTPUT_PP;
  GPIO_InitStruct.Pull = GPIO_NOPULL;
  GPIO_InitStruct.Speed = GPIO_SPEED_FREQ_LOW;
  HAL_GPIO_Init(LED_GPIO_Port, &GPIO_InitStruct);

  /*Configure GPIO pin : LORA_NSS_Pin */
  GPIO_InitStruct.Pin = LORA_NSS_Pin;
  GPIO_InitStruct.Mode = GPIO_MODE_OUTPUT_PP;
  GPIO_InitStruct.Pull = GPIO_NOPULL;
  GPIO_InitStruct.Speed = GPIO_SPEED_FREQ_LOW;
  HAL_GPIO_Init(LORA_NSS_GPIO_Port, &GPIO_InitStruct);

  /*Configure GPIO pins : LORA_DIO1_Pin LORA_BUSY_Pin */
  GPIO_InitStruct.Pin = LORA_DIO1_Pin|LORA_BUSY_Pin;
  GPIO_InitStruct.Mode = GPIO_MODE_INPUT;
  GPIO_InitStruct.Pull = GPIO_NOPULL;
  HAL_GPIO_Init(GPIOB, &GPIO_InitStruct);

  /*Configure GPIO pin : MAG_INT_Pin */
  GPIO_InitStruct.Pin = MAG_INT_Pin;
  GPIO_InitStruct.Mode = GPIO_MODE_IT_RISING;
  GPIO_InitStruct.Pull = GPIO_NOPULL;
  HAL_GPIO_Init(MAG_INT_GPIO_Port, &GPIO_InitStruct);

  /* EXTI interrupt init*/
  HAL_NVIC_SetPriority(EXTI15_10_IRQn, 1, 0);
  HAL_NVIC_EnableIRQ(EXTI15_10_IRQn);

  /* USER CODE BEGIN MX_GPIO_Init_2 */
  HAL_GPIO_WritePin(LORA_NSS_GPIO_Port, LORA_NSS_Pin, GPIO_PIN_SET);
  HAL_GPIO_WritePin(LORA_NRST_GPIO_Port, LORA_NRST_Pin, GPIO_PIN_SET);

  GPIO_InitStruct.Pin = LORA_NRST_Pin;
  GPIO_InitStruct.Mode = GPIO_MODE_OUTPUT_PP;
  GPIO_InitStruct.Pull = GPIO_NOPULL;
  GPIO_InitStruct.Speed = GPIO_SPEED_FREQ_LOW;
  HAL_GPIO_Init(LORA_NRST_GPIO_Port, &GPIO_InitStruct);

  /* USER CODE END MX_GPIO_Init_2 */
}

void Error_Handler(void)
{
  __disable_irq();
  while (1)
  {
  }
}
